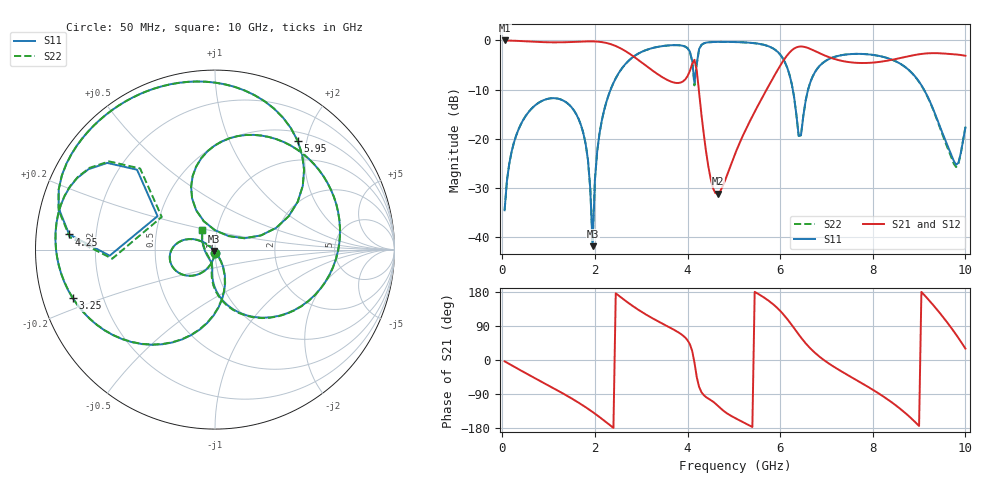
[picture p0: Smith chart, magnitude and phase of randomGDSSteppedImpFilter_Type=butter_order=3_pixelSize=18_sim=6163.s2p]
! freq	dB(S11)	phase(S11)	dB(S12)	phase(S12)
!  dB(S21)	phase(S21)	dB(S22)	phase(S22)
!S-par simulation data
#  GHz  S  DB  R 50
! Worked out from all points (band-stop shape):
!   200 points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, 50 MHz to 10 GHz, reference 50 ohm
!   highest |S21| = -0.01 dB at 50 MHz (marker M1); lowest = -31.2 dB at 4.65 GHz (marker M2)
!   |S21| within 3 dB of the highest: start of sweep to 2.794 GHz; 8.884 GHz to 9.928 GHz (1.044 GHz wide, 11.1 % of centre) (the widest 2 of 3)
!   lowest |S11| = -41.9 dB at 1.95 GHz (marker M3), VSWR 1.02, Z = 49.6 - j0.696 ohm
!   |S11| at or under -10 dB: start of sweep to 2.34 GHz; 6.272 GHz to 6.604 GHz (332.1 MHz wide, 5.16 % of centre); 9.105 GHz to end of sweep
!   |S22| runs from -40.9 to -0.3 dB; largest |S21 - S12| = 0
!   S11 on the Smith chart (normalised r, x): 50 MHz: 1.00, -0.04; 3.25 GHz: 0.09, -0.16; 4.25 GHz: 0.10, +0.05; 5.95 GHz: 0.63, +1.84; 10 GHz: 0.85, +0.19
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0.05  -34.59 -93.5  -0.01 -3.5  -0.01 -3.5  -34.59 -93.5
0.25  -20.85 -107.5  -0.06 -17.3  -0.06 -17.3  -20.85 -107.5
0.65  -13.73 -134.8  -0.25 -44.4  -0.25 -44.4  -13.73 -134.8
1.75  -18.89 151.3  -0.22 -120.6  -0.22 -120.6  -18.88 151.7
1.95  -41.91 -119.0  -0.19 -137.2  -0.19 -137.2  -40.87 -121.4
2.05  -22.55 -62.5  -0.24 -146.1  -0.24 -146.1  -22.53 -63.6
2.25  -12.46 -77.6  -0.52 -164.7  -0.52 -164.7  -12.45 -78.0
3.25  -1.54 -161.2  -6.18 109.6  -6.18 109.6  -1.54 -161.4
3.4  -1.24 -170.9  -7.15 99.7  -7.15 99.7  -1.24 -171.1
4.05  -2.26 141.2  -6.23 41.7  -6.23 41.7  -2.29 140.2
4.15  -8.63 149.8  -3.95 -7.0  -3.95 -7.0  -9.17 148.5
4.25  -1.75 174.1  -10.62 -71.1  -10.62 -71.1  -1.81 175.1
4.65  -0.30 137.2  -31.20 -120.4  -31.20 -120.4  -0.31 137.4
5.05  -0.33 115.8  -22.56 -154.7  -22.56 -154.7  -0.33 115.9
5.95  -2.36 52.9  -5.95 135.9  -5.95 135.9  -2.36 52.9
6.4  -19.44 45.2  -1.28 67.4  -1.28 67.4  -19.47 45.1
6.7  -7.38 107.0  -1.93 24.8  -1.93 24.8  -7.38 107.0
7.35  -2.96 57.5  -4.20 -32.0  -4.20 -32.0  -2.96 57.5
8.35  -3.70 -12.3  -4.07 -106.5  -4.07 -106.5  -3.70 -12.6
9.2  -11.74 -84.9  -2.62 159.7  -2.62 159.7  -11.82 -86.1
9.8  -25.33 -146.1  -2.86 66.9  -2.86 66.9  -25.80 -149.7
10  -17.74 123.7  -3.12 30.2  -3.12 30.2  -17.67 122.3
